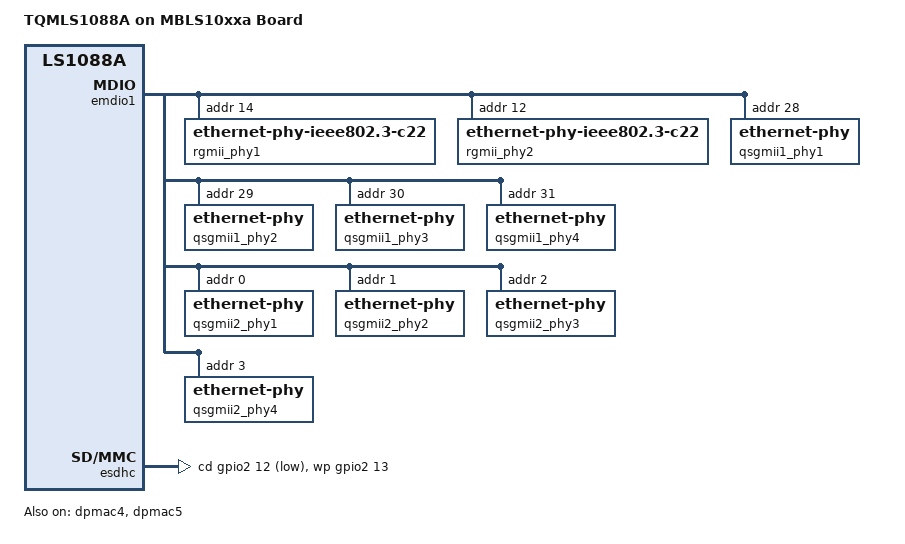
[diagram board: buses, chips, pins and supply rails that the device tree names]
// SPDX-License-Identifier: (GPL-2.0-or-later OR MIT)
/*
 * Copyright (c) 2023 TQ-Systems GmbH <u-boot@ew.tq-group.com>,
 * D-82229 Seefeld, Germany.
 * Author: Gregor Herburger
 */

/dts-v1/;
#include "fsl-ls1088a.dtsi"
#include "fsl-ls1088a-tqmls1088a.dtsi"
#include "fsl-tqmls10xxa-mbls10xxa.dtsi"

/ {
	model = "TQMLS1088A on MBLS10xxa Board";
	aliases {
		dpmac1 = &dpmac1;
		dpmac2 = &dpmac2;
		dpmac3 = &dpmac3;
		dpmac4 = &dpmac4;
		dpmac5 = &dpmac5;
		dpmac6 = &dpmac6;
		dpmac7 = &dpmac7;
		dpmac8 = &dpmac8;
		dpmac9 = &dpmac9;
		dpmac10 = &dpmac10;

		rgmii-s1 = &rgmii_phy1;
		rgmii-s2 = &rgmii_phy2;
		qsgmii-s1-p1 = &qsgmii1_phy1;
		qsgmii-s1-p2 = &qsgmii1_phy2;
		qsgmii-s1-p3 = &qsgmii1_phy3;
		qsgmii-s1-p4 = &qsgmii1_phy4;
		qsgmii-s2-p1 = &qsgmii2_phy1;
		qsgmii-s2-p2 = &qsgmii2_phy2;
		qsgmii-s2-p3 = &qsgmii2_phy3;
		qsgmii-s2-p4 = &qsgmii2_phy4;
	};
};

&dpmac4 {
	status = "okay";
	phy-handle = <&rgmii_phy1>;
	phy-connection-type = "rgmii-id";
};

&dpmac5 {
	status = "okay";
	phy-handle = <&rgmii_phy2>;
	phy-connection-type = "rgmii-id";
};

&emdio1 {
	status = "okay";
	rgmii_phy1: ethernet-phy@0e {
		compatible = "ethernet-phy-ieee802.3-c22";
		reg = <0x0e>;
		ti,rx-internal-delay = <DP83867_RGMIIDCTL_1_50_NS>;
		ti,tx-internal-delay = <DP83867_RGMIIDCTL_1_50_NS>;
		ti,fifo-depth = <DP83867_PHYCR_FIFO_DEPTH_8_B_NIB>;
		/* LED1: Link, LED2: activity */
		ti,led-function = <0x0100>;
		/* LED1: active High, LED2: active Low driven by phy function */
		ti,led-ctrl = <0x1041>;
	};

	rgmii_phy2: ethernet-phy@0c {
		compatible = "ethernet-phy-ieee802.3-c22";
		reg = <0x0c>;
		ti,rx-internal-delay = <DP83867_RGMIIDCTL_1_50_NS>;
		ti,tx-internal-delay = <DP83867_RGMIIDCTL_1_50_NS>;
		ti,fifo-depth = <DP83867_PHYCR_FIFO_DEPTH_8_B_NIB>;
		/* LED1: Link, LED2: activity */
		ti,led-function = <0x0100>;
		/* LED1: active High, LED2: active Low driven by phy function */
		ti,led-ctrl = <0x1041>;
	};

	qsgmii1_phy1: ethernet-phy@1c {
		reg = <0x1c>;
	};

	qsgmii1_phy2: ethernet-phy@1d {
		reg = <0x1d>;
	};

	qsgmii1_phy3: ethernet-phy@1e {
		reg = <0x1e>;
	};

	qsgmii1_phy4: ethernet-phy@1f {
		reg = <0x1f>;
	};

	qsgmii2_phy1: ethernet-phy@00 {
		reg = <0x00>;
	};

	qsgmii2_phy2: ethernet-phy@01 {
		reg = <0x01>;
	};

	qsgmii2_phy3: ethernet-phy@02 {
		reg = <0x02>;
	};

	qsgmii2_phy4: ethernet-phy@03 {
		reg = <0x03>;
	};
};

&esdhc {
	cd-gpios = <&gpio2 12 GPIO_ACTIVE_LOW>;
	wp-gpios = <&gpio2 13 GPIO_ACTIVE_HIGH>;
};
